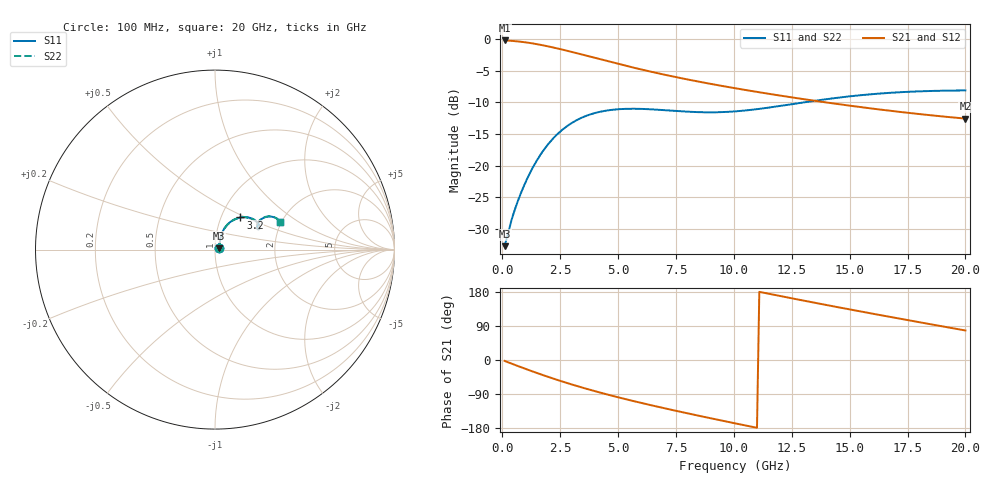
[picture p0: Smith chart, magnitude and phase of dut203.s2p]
! Touchstone file exported from HFSS 2024.1.0
!  File:  C:/UserFiles/LocalFiles/RDL_TSV_Batchsim/temp_RDL_TSV_203_1779444477.aedt
!  Generated:  06:24:48 PM May 22, 2026
!  Design:  RDL_TSV
!  Project:  temp_RDL_TSV_203_1779444477
!  Setup:  Setup1
!  Solution:  Sweep
! Variables:
!  dtsv = 9.34um
!  hbump = 3um
!  htsv = 68.84um
!  ldown = 615.24um
!  lrdl = 627.16um
!  p = 40
!  p1 = 56.45um
!  rhole = 10um
!  subl = 4354.36um
!  t = 450um
!  tdown = 2.25um
!  trdl = 4.94um
!  viad = 10um
!  wdown = 25.03um
!  wrdl = 18.84um
!  xbump = 18um
# GHz S MA R 50.000000
! Terminal data exported
! Port[1] = TM1_1_T1
! Port[2] = TM1_4_T1
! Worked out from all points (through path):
!   200 points, 100 MHz to 20 GHz, reference 50 ohm
!   highest |S21| = -0.19 dB at 100 MHz (marker M1); lowest = -12.6 dB at 20 GHz (marker M2)
!   group delay of S21, straight-line fit = 37.2 ps
!   lowest |S11| = -32.8 dB at 100 MHz (marker M3), VSWR 1.05, Z = 52.2 + j0.786 ohm
!   |S11| at or under -10 dB: start of sweep to 13.02 GHz
!   |S22| runs from -32.8 to -8.1 dB; largest |S21 - S12| = 1.1e-14
!   S11 on the Smith chart (normalised r, x): 100 MHz: 1.04, +0.02; 3.2 GHz: 1.23, +0.47; 20 GHz: 1.96, +0.72
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0.1  0.02301 19.1  0.978 -2.4  0.978 -2.4  0.02301 19.1
! Gamma 0 0 0 0
! Port Impedance 50 0 50 0
0.4  0.0371 47.9  0.9711 -9.6  0.9711 -9.6  0.0371 47.9
0.7  0.05404 59.2  0.9601 -16.5  0.9601 -16.5  0.05405 59.1
1  0.07344 64.7  0.9454 -23.4  0.9454 -23.4  0.07343 64.6
1.4  0.1026 66.9  0.9209 -32.2  0.9209 -32.2  0.1025 66.8
1.8  0.1336 65.7  0.8921 -40.8  0.8921 -40.8  0.1334 65.6
2.3  0.1716 61.6  0.8523 -51.0  0.8523 -51.0  0.1713 61.5
2.7  0.1991 57.3  0.8189 -58.9  0.8189 -58.9  0.1987 57.2
3.2  0.2281 51.7  0.7768 -68.2  0.7768 -68.2  0.2276 51.6
3.5  0.2423 48.3  0.7519 -73.6  0.7519 -73.6  0.2417 48.2
4.3  0.2683 40.2  0.6888 -87.2  0.6888 -87.2  0.2675 40.1
5.1  0.2799 33.6  0.632 -99.9  0.632 -99.9  0.2789 33.5
5.9  0.2813 28.9  0.5822 -111.8  0.5822 -111.8  0.2801 28.8
6.8  0.2761 25.8  0.5339 -124.6  0.5339 -124.6  0.2748 25.8
8.4  0.265 25.5  0.4648 -146.0  0.4648 -146.0  0.2635 25.6
10.1  0.2689 29.4  0.408 -167.7  0.408 -167.7  0.2675 29.6
11.8  0.2927 32.7  0.3627 171.3  0.3627 171.3  0.2917 33.0
13.4  0.3238 33.2  0.3275 152.1  0.3275 152.1  0.3231 33.4
15  0.3531 31.5  0.298 133.5  0.298 133.5  0.3526 31.7
16.7  0.376 28.6  0.2722 114.2  0.2722 114.2  0.3757 28.8
18.3  0.3885 25.7  0.2523 96.5  0.2523 96.5  0.3881 25.9
20  0.3932 23.1  0.2354 77.9  0.2354 77.9  0.3929 23.3
